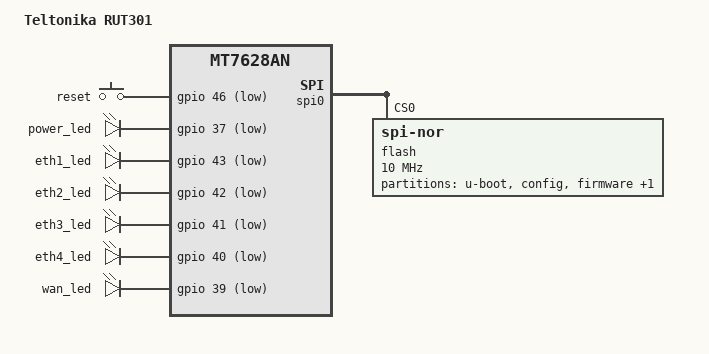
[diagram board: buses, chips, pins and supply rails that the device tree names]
// SPDX-License-Identifier: GPL-2.0-or-later OR MIT
/dts-v1/;

#include <dt-bindings/input/input.h>
#include <dt-bindings/gpio/gpio.h>
#include "mt7628an.dtsi"
#include "platform_name.dtsi"

/ {
	compatible = "teltonika,rut301", "mediatek,mt7628an-soc";
	model = "Teltonika RUT301";

	chosen {
		bootargs = "console=ttyS0,115200";
	};

	keys {
		compatible = "gpio-keys";

		reset {
			label = "reset";
			linux,code = <KEY_RESTART>;
			gpios = <&gpio 46 GPIO_ACTIVE_LOW>;
			debounce-interval = <60>;
		};
	};

	leds {
		compatible = "gpio-leds";

		power_led {
			label = "power_led";
			gpios = <&gpio 37 GPIO_ACTIVE_LOW>;
			default-state = "on";
		};

		eth1_led {
			label = "eth1_led";
			gpios = <&gpio 43 GPIO_ACTIVE_LOW>;
		};

		eth2_led {
			label = "eth2_led";
			gpios = <&gpio 42 GPIO_ACTIVE_LOW>;
		};

		eth3_led {
			label = "eth3_led";
			gpios = <&gpio 41 GPIO_ACTIVE_LOW>;
		};

		eth4_led {
			label = "eth4_led";
			gpios = <&gpio 40 GPIO_ACTIVE_LOW>;
		};

		wan_led {
			label = "wan_led";
			gpios = <&gpio 39 GPIO_ACTIVE_LOW>;
		};
	};

	tlt_gpios { // Modify according to wiki page "DTS syntax with Libgpiod changes"
		gpiochip_info {
			hw_0 {
				hwver = <0>;
				gpiochip_count = <3>;

				gpiochip_0 = <32>; // Built-in
				gpiochip_1 = <32>; // Built-in
				gpiochip_2 = <32>; // Built-in
			};
		};

		ioman {
			GPIO_2 {
				line_name = "GPIO_OUT_1";
			};
			GPIO_11 {
				line_name = "GPIO_OUT_2";
			};
			GPIO_3 {
				line_name = "GPIO_IN_1";
			};
			GPIO_0 {
				line_name = "GPIO_IN_2";
			};
		};

		ledman {
			GPIO_43 {
				line_name = "LED_ETH_GREEN_1";
				active_low;
			};
			GPIO_42 {
				line_name = "LED_ETH_GREEN_2";
				active_low;
			};
			GPIO_41 {
				line_name = "LED_ETH_GREEN_3";
				active_low;
			};
			GPIO_40 {
				line_name = "LED_ETH_GREEN_4";
				active_low;
			};
			GPIO_39 {
				line_name = "LED_ETH_GREEN_5";
				active_low;
			};
			GPIO_37 {
				line_name = "LED_POWER";
				active_low;
			};
		};
	};
};

&state_default {
	gpio {
		groups = "i2s", "uart1", "p4led_an", "p3led_an", "p2led_an", "p1led_an", "p0led_an", "gpio", "wled_an", "perst";
		function = "gpio";
	};
};

&spi0 {
	status = "okay";

	flash@0 {
		compatible = "jedec,spi-nor";
		reg = <0>;
		spi-max-frequency = <10000000>;

		partitions {
			compatible = "fixed-partitions";
			#address-cells = <1>;
			#size-cells = <1>;

			boot: partition@0 {
				label = "u-boot";
				reg = <0x0 0x20000>;
				read-only;
			};

			config: partition@20000 {
				label = "config";
				reg = <0x020000 0x010000>;
				read-only;
			};

			partition@30000 {
				compatible = "denx,uimage";
				label = "firmware";
				reg = <0x030000 0xf40000>;
			};

			partition@f70000 {
				label = "event-log";
				reg = <0xf70000 0x90000>;
			};
		};
	};
};

&ethernet {
	mtd-mac-address = <&config 0x0>;
};

&esw {
	mediatek,portmap = <0x2f>;
};
